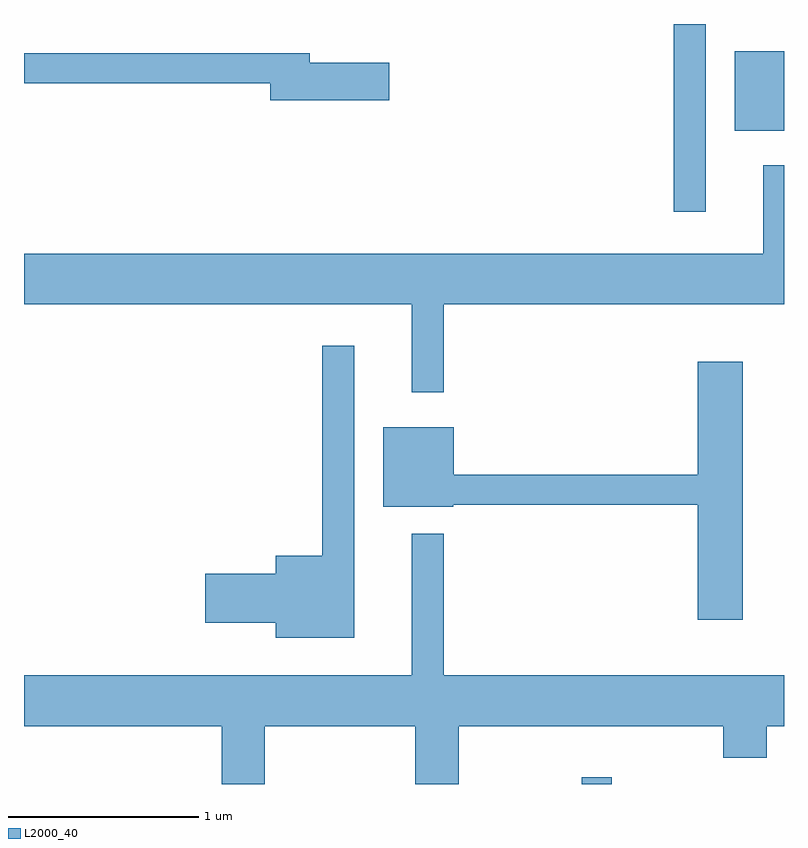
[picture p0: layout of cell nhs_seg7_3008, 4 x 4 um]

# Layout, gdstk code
import gdstk
lib = gdstk.Library(unit=1e-6, precision=1e-09)
def R(c, l, rs):  # rectangles x0, y0, x1, y1
    for r in rs: c.add(gdstk.rectangle(r[:2], r[2:], *l))
def P(c, l, *ps):  # polygons
    for p in ps: c.add(gdstk.Polygon(p, *l))
L2000_40 = (2000, 40)

nhs_seg7_3008 = lib.new_cell('nhs_seg7_3008')
R(nhs_seg7_3008, L2000_40, [(280.546,1696.252,280.704,1696.288), (281.031,1699.263,281.199,1700.252), (281.351,1699.691,281.611,1700.109)])
P(nhs_seg7_3008, L2000_40, [(279.534,1700.049),(279.114,1700.049),(279.114,1700.099),(277.611,1700.099),(277.611,1699.941),(278.906,1699.941),(278.906,1699.851),(279.534,1699.851)],
  [(279.819,1698.776),(281.611,1698.776),(281.611,1699.508),(281.501,1699.508),(281.501,1699.044),(277.611,1699.044),(277.611,1698.776),(279.651,1698.776),(279.651,1698.313),(279.819,1698.313)],
  [(279.349,1698.558),(279.181,1698.558),(279.181,1697.454),(278.936,1697.454),(278.936,1697.359),(278.566,1697.359),(278.566,1697.101),(278.936,1697.101),(278.936,1697.021),(279.349,1697.021)],
  [(281.394,1698.474),(281.156,1698.474),(281.156,1697.879),(279.874,1697.879),(279.874,1698.129),(279.501,1698.129),(279.501,1697.711),(279.87,1697.711),(279.87,1697.721),(281.156,1697.721),(281.156,1697.116),(281.394,1697.116)],
  [(279.819,1697.568),(279.651,1697.568),(279.651,1696.824),(277.611,1696.824),(277.611,1696.556),(278.651,1696.556),(278.651,1696.252),(278.879,1696.252),(278.879,1696.556),(279.671,1696.556),(279.671,1696.252),(279.899,1696.252),(279.899,1696.556),(281.291,1696.556),(281.291,1696.391),(281.519,1696.391),(281.519,1696.556),(281.611,1696.556),(281.611,1696.824),(279.819,1696.824)])

lib.write_gds('nhs_seg7_3008.gds')
